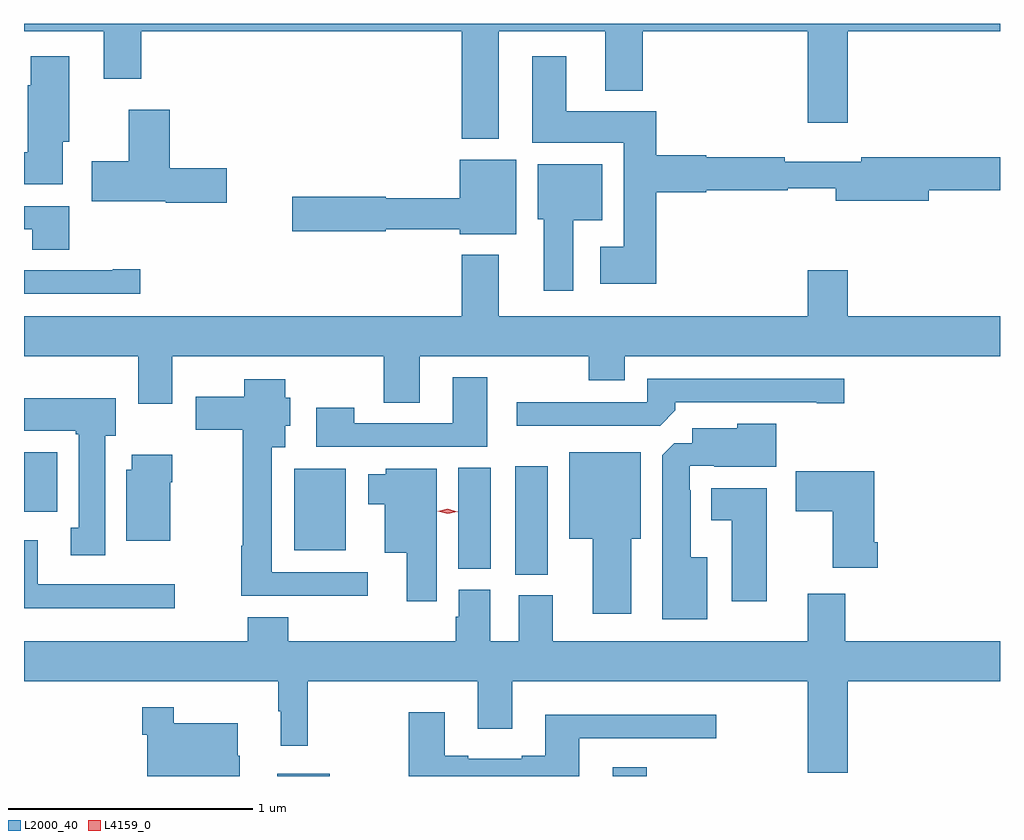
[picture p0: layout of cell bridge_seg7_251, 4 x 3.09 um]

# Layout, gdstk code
import gdstk
lib = gdstk.Library(unit=1e-6, precision=1e-09)
def R(c, l, rs):  # rectangles x0, y0, x1, y1
    for r in rs: c.add(gdstk.rectangle(r[:2], r[2:], *l))
def P(c, l, *ps):  # polygons
    for p in ps: c.add(gdstk.Polygon(p, *l))
L2000_40 = (2000, 40)
L4159_0 = (4159, 0)

bridge_seg7_251 = lib.new_cell('bridge_seg7_251')
R(bridge_seg7_251, L2000_40, [(174.013,1078.814,174.142,1078.816), (174.821,1078.814,175.036,1078.825), (176.195,1078.814,176.335,1078.852), (175.796,1079.641,175.93,1080.085), (175.562,1079.665,175.696,1080.08), (174.89,1079.741,175.102,1080.076), (173.783,1079.9,173.92,1080.142)])
P(bridge_seg7_251, L2000_40, [(175.729,1081.868),(176.165,1081.868),(176.165,1081.625),(176.318,1081.625),(176.318,1081.868),(176.996,1081.868),(176.996,1081.494),(177.16,1081.494),(177.16,1081.868),(177.783,1081.868),(177.783,1081.9),(173.783,1081.9),(173.783,1081.868),(174.11,1081.868),(174.11,1081.674),(174.263,1081.674),(174.263,1081.868),(175.577,1081.868),(175.577,1081.427),(175.729,1081.427)],
  [(173.941,1081.416),(173.968,1081.416),(173.968,1081.765),(173.81,1081.765),(173.81,1081.647),(173.798,1081.647),(173.798,1081.372),(173.783,1081.372),(173.783,1081.241),(173.941,1081.241)],
  [(176.375,1081.208),(176.58,1081.208),(176.58,1081.216),(176.914,1081.216),(176.914,1081.224),(177.11,1081.224),(177.11,1081.174),(177.49,1081.174),(177.49,1081.216),(177.783,1081.216),(177.783,1081.352),(177.214,1081.352),(177.214,1081.333),(176.9,1081.333),(176.9,1081.352),(176.58,1081.352),(176.58,1081.36),(176.375,1081.36),(176.375,1081.54),(176.005,1081.54),(176.005,1081.765),(175.865,1081.765),(175.865,1081.412),(176.24,1081.412),(176.24,1080.985),(176.145,1080.985),(176.145,1080.833),(176.375,1080.833)],
  [(174.613,1081.307),(174.38,1081.307),(174.38,1081.546),(174.212,1081.546),(174.212,1081.335),(174.06,1081.335),(174.06,1081.172),(174.363,1081.172),(174.363,1081.165),(174.613,1081.165)],
  [(175.801,1081.342),(175.568,1081.342),(175.568,1081.184),(175.266,1081.184),(175.266,1081.19),(174.882,1081.19),(174.882,1081.048),(175.266,1081.048),(175.266,1081.056),(175.568,1081.056),(175.568,1081.037),(175.801,1081.037)],
  [(176.035,1081.094),(176.152,1081.094),(176.152,1081.324),(175.889,1081.324),(175.889,1081.098),(175.913,1081.098),(175.913,1080.804),(176.035,1080.804)],
  [(173.969,1081.152),(173.783,1081.152),(173.783,1081.056),(173.816,1081.056),(173.816,1080.973),(173.969,1080.973)],
  [(174.259,1080.893),(174.146,1080.893),(174.146,1080.888),(173.783,1080.888),(173.783,1080.792),(174.259,1080.792)],
  [(176.996,1080.889),(176.996,1080.7),(175.729,1080.7),(175.729,1080.952),(175.577,1080.952),(175.577,1080.7),(173.783,1080.7),(173.783,1080.536),(174.251,1080.536),(174.251,1080.342),(174.391,1080.342),(174.391,1080.536),(175.258,1080.536),(175.258,1080.346),(175.405,1080.346),(175.405,1080.536),(176.098,1080.536),(176.098,1080.437),(176.245,1080.437),(176.245,1080.536),(177.783,1080.536),(177.783,1080.7),(177.16,1080.7),(177.16,1080.889)],
  [(175.681,1080.451),(175.541,1080.451),(175.541,1080.261),(175.137,1080.261),(175.137,1080.325),(174.981,1080.325),(174.981,1080.165),(175.681,1080.165)],
  [(176.453,1080.314),(176.453,1080.348),(177.032,1080.348),(177.032,1080.343),(177.145,1080.343),(177.145,1080.444),(176.337,1080.444),(176.337,1080.348),(175.803,1080.348),(175.803,1080.252),(176.391,1080.252)],
  [(175.192,1079.652),(174.799,1079.652),(174.799,1080.164),(174.853,1080.164),(174.853,1080.252),(174.874,1080.252),(174.874,1080.366),(174.853,1080.366),(174.853,1080.442),(174.686,1080.442),(174.686,1080.37),(174.486,1080.37),(174.486,1080.236),(174.679,1080.236),(174.679,1079.759),(174.674,1079.759),(174.674,1079.555),(175.192,1079.555)],
  [(174.115,1080.21),(174.16,1080.21),(174.16,1080.364),(173.783,1080.364),(173.783,1080.23),(173.995,1080.23),(173.995,1080.217),(174.008,1080.217),(174.008,1079.834),(173.975,1079.834),(173.975,1079.721),(174.115,1079.721)],
  [(176.584,1079.713),(176.515,1079.713),(176.515,1079.987),(176.511,1079.987),(176.511,1080.087),(176.611,1080.087),(176.611,1080.083),(176.866,1080.083),(176.866,1080.259),(176.706,1080.259),(176.706,1080.241),(176.522,1080.241),(176.522,1080.18),(176.448,1080.18),(176.399,1080.131),(176.399,1079.459),(176.584,1079.459)],
  [(176.272,1079.789),(176.311,1079.789),(176.311,1080.142),(176.018,1080.142),(176.018,1079.789),(176.114,1079.789),(176.114,1079.481),(176.272,1079.481)],
  [(174.382,1080.02),(174.39,1080.02),(174.39,1080.133),(174.224,1080.133),(174.224,1080.072),(174.203,1080.072),(174.203,1079.78),(174.382,1079.78)],
  [(175.474,1080.076),(175.266,1080.076),(175.266,1080.052),(175.193,1080.052),(175.193,1079.93),(175.262,1079.93),(175.262,1079.732),(175.352,1079.732),(175.352,1079.532),(175.474,1079.532)],
  [(177.281,1079.773),(177.268,1079.773),(177.268,1080.064),(176.946,1080.064),(176.946,1079.902),(177.098,1079.902),(177.098,1079.669),(177.281,1079.669)],
  [(176.827,1079.995),(176.6,1079.995),(176.6,1079.864),(176.684,1079.864),(176.684,1079.532),(176.827,1079.532)],
  [(174.4,1079.601),(173.839,1079.601),(173.839,1079.782),(173.783,1079.782),(173.783,1079.504),(174.4,1079.504)],
  [(177.16,1079.204),(177.783,1079.204),(177.783,1079.368),(177.149,1079.368),(177.149,1079.563),(176.996,1079.563),(176.996,1079.368),(175.951,1079.368),(175.951,1079.556),(175.811,1079.556),(175.811,1079.368),(175.693,1079.368),(175.693,1079.58),(175.565,1079.58),(175.565,1079.469),(175.553,1079.469),(175.553,1079.368),(174.866,1079.368),(174.866,1079.467),(174.701,1079.467),(174.701,1079.368),(173.783,1079.368),(173.783,1079.204),(174.825,1079.204),(174.825,1079.081),(174.836,1079.081),(174.836,1078.941),(174.946,1078.941),(174.946,1079.204),(175.643,1079.204),(175.643,1079.01),(175.783,1079.01),(175.783,1079.204),(176.996,1079.204),(176.996,1078.83),(177.16,1078.83)],
  [(174.667,1078.899),(174.658,1078.899),(174.658,1079.032),(174.397,1079.032),(174.397,1079.098),(174.268,1079.098),(174.268,1078.985),(174.288,1078.985),(174.288,1078.814),(174.667,1078.814)],
  [(176.059,1078.971),(176.62,1078.971),(176.62,1079.068),(175.919,1079.068),(175.919,1078.9),(175.823,1078.9),(175.823,1078.887),(175.603,1078.887),(175.603,1078.9),(175.507,1078.9),(175.507,1079.077),(175.36,1079.077),(175.36,1078.814),(176.059,1078.814)])
P(bridge_seg7_251, L4159_0, [(175.519,1079.891),(175.479,1079.901),(175.479,1079.901),(175.479,1079.901),(175.519,1079.911),(175.559,1079.9),(175.56,1079.9),(175.559,1079.9)])

lib.write_gds('bridge_seg7_251.gds')
